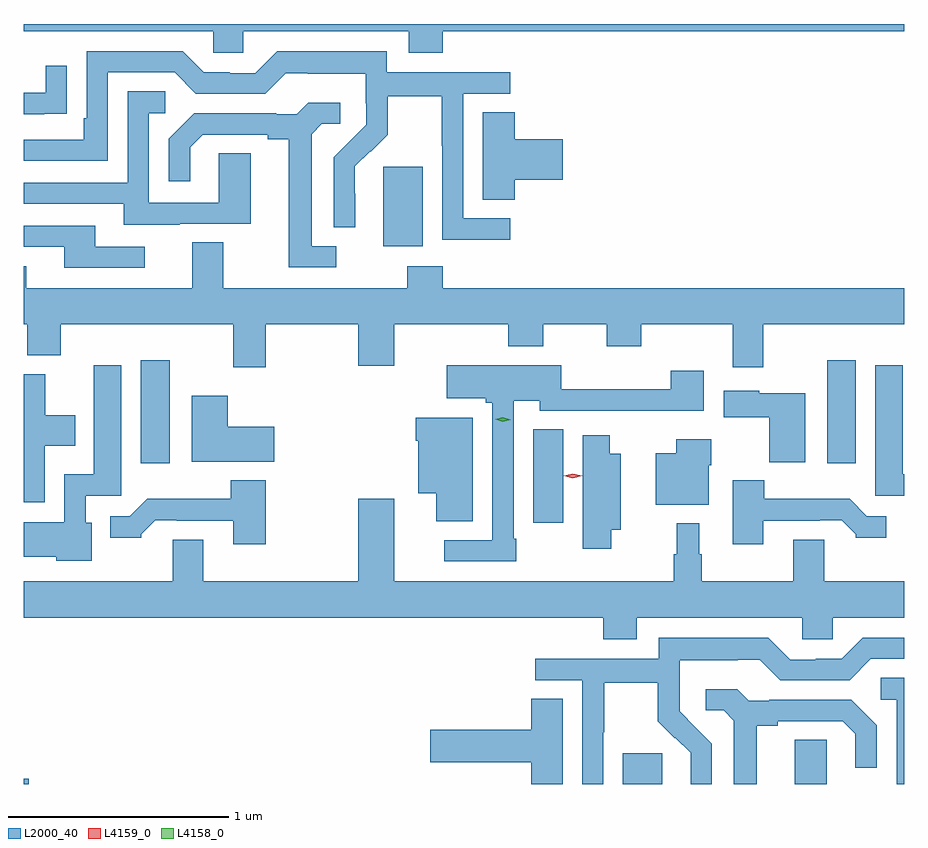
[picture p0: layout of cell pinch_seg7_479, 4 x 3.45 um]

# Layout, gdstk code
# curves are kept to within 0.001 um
import gdstk
lib = gdstk.Library(unit=1e-6, precision=1e-09)
def R(c, l, rs):  # rectangles x0, y0, x1, y1
    for r in rs: c.add(gdstk.rectangle(r[:2], r[2:], *l))
def P(c, l, *ps):  # polygons
    for p in ps: c.add(gdstk.Polygon(p, *l))
L2000_40 = (2000, 40)
L4158_0 = (4158, 0)
L4159_0 = (4159, 0)

pinch_seg7_479 = lib.new_cell('pinch_seg7_479')
R(pinch_seg7_479, L2000_40, [(211.441,1078.448,211.465,1078.472), (214.163,1078.448,214.342,1078.587), (214.943,1078.448,215.088,1078.649), (213.755,1079.634,213.892,1080.059), (211.973,1079.904,212.104,1080.373), (215.09,1079.904,215.221,1080.373), (213.074,1080.89,213.253,1081.251)])
P(pinch_seg7_479, L2000_40, [(213.344,1081.868),(215.441,1081.868),(215.441,1081.9),(211.441,1081.9),(211.441,1081.868),(212.301,1081.868),(212.301,1081.77),(212.439,1081.77),(212.439,1081.868),(213.191,1081.868),(213.191,1081.769),(213.344,1081.769)],
  [(213.652,1081.017),(213.438,1081.017),(213.438,1081.584),(213.652,1081.584),(213.652,1081.68),(213.09,1081.68),(213.09,1081.777),(212.593,1081.777),(212.493,1081.677),(212.378,1081.677),(212.378,1081.68),(212.259,1081.68),(212.163,1081.776),(211.728,1081.776),(211.728,1081.471),(211.715,1081.471),(211.715,1081.374),(211.441,1081.374),(211.441,1081.278),(211.824,1081.278),(211.824,1081.68),(212.127,1081.68),(212.223,1081.584),(212.538,1081.584),(212.631,1081.677),(212.731,1081.677),(212.731,1081.673),(212.994,1081.673),(212.994,1081.539),(212.996,1081.539),(212.996,1081.442),(212.85,1081.294),(212.85,1080.976),(212.946,1080.976),(212.945,1081.253),(213.015,1081.323),(213.018,1081.32),(213.095,1081.397),(213.095,1081.572),(213.34,1081.572),(213.34,1081.348),(213.342,1081.348),(213.342,1080.919),(213.652,1080.919)],
  [(211.535,1081.492),(211.637,1081.492),(211.637,1081.711),(211.541,1081.711),(211.541,1081.587),(211.441,1081.587),(211.441,1081.491),(211.535,1081.491)],
  [(212.149,1080.993),(212.473,1080.993),(212.473,1081.313),(212.328,1081.313),(212.328,1081.089),(212.01,1081.089),(212.01,1081.494),(212.083,1081.494),(212.083,1081.595),(211.914,1081.595),(211.914,1081.179),(211.441,1081.179),(211.441,1081.083),(211.895,1081.083),(211.895,1080.989),(212.149,1080.989)],
  [(212.86,1080.891),(212.749,1080.891),(212.749,1081.399),(212.796,1081.446),(212.878,1081.446),(212.878,1081.543),(212.734,1081.543),(212.682,1081.491),(212.588,1081.491),(212.588,1081.494),(212.216,1081.494),(212.1,1081.378),(212.1,1081.185),(212.197,1081.185),(212.197,1081.341),(212.254,1081.398),(212.549,1081.398),(212.549,1081.376),(212.645,1081.376),(212.645,1080.795),(212.86,1080.795)],
  [(213.671,1081.193),(213.889,1081.193),(213.889,1081.376),(213.671,1081.376),(213.671,1081.499),(213.527,1081.499),(213.527,1081.102),(213.671,1081.102)],
  [(211.99,1080.888),(211.765,1080.888),(211.765,1080.984),(211.441,1080.984),(211.441,1080.888),(211.625,1080.888),(211.625,1080.792),(211.99,1080.792)],
  [(213.641,1080.437),(213.801,1080.437),(213.801,1080.536),(214.09,1080.536),(214.09,1080.437),(214.245,1080.437),(214.245,1080.536),(214.661,1080.536),(214.661,1080.342),(214.801,1080.342),(214.801,1080.536),(215.441,1080.536),(215.441,1080.7),(213.344,1080.7),(213.344,1080.799),(213.184,1080.799),(213.184,1080.7),(212.347,1080.7),(212.347,1080.908),(212.207,1080.908),(212.207,1080.7),(211.453,1080.7),(211.453,1080.799),(211.441,1080.799),(211.441,1080.536),(211.457,1080.536),(211.457,1080.395),(211.61,1080.395),(211.61,1080.536),(212.393,1080.536),(212.393,1080.342),(212.541,1080.342),(212.541,1080.536),(212.96,1080.536),(212.96,1080.348),(213.124,1080.348),(213.124,1080.536),(213.641,1080.536)],
  [(213.679,1079.563),(213.666,1079.563),(213.666,1080.188),(213.786,1080.188),(213.786,1080.144),(214.295,1080.144),(214.295,1080.143),(214.531,1080.143),(214.531,1080.325),(214.379,1080.325),(214.379,1080.242),(213.882,1080.242),(213.882,1080.349),(213.363,1080.349),(213.363,1080.2),(213.54,1080.2),(213.54,1080.179),(213.57,1080.179),(213.57,1079.556),(213.351,1079.556),(213.351,1079.46),(213.679,1079.46)],
  [(215.441,1079.854),(215.434,1079.854),(215.434,1080.349),(215.309,1080.349),(215.309,1079.757),(215.441,1079.757)],
  [(211.75,1079.634),(211.722,1079.634),(211.722,1079.757),(211.885,1079.757),(211.885,1080.349),(211.76,1080.349),(211.76,1079.854),(211.626,1079.854),(211.626,1079.638),(211.441,1079.638),(211.441,1079.48),(211.59,1079.48),(211.59,1079.462),(211.75,1079.462)],
  [(211.536,1079.984),(211.675,1079.984),(211.675,1080.124),(211.539,1080.124),(211.539,1080.31),(211.441,1080.31),(211.441,1079.727),(211.536,1079.727)],
  [(214.99,1080.223),(214.782,1080.223),(214.782,1080.235),(214.62,1080.235),(214.62,1080.113),(214.828,1080.113),(214.828,1079.909),(214.99,1079.909)],
  [(212.578,1080.07),(212.368,1080.07),(212.368,1080.211),(212.204,1080.211),(212.204,1079.912),(212.578,1079.912)],
  [(213.481,1080.112),(213.221,1080.112),(213.221,1080.008),(213.233,1080.008),(213.233,1079.768),(213.314,1079.768),(213.314,1079.641),(213.481,1079.641)],
  [(214.11,1079.603),(214.153,1079.603),(214.153,1079.947),(214.102,1079.947),(214.102,1080.031),(213.98,1080.031),(213.98,1079.517),(214.11,1079.517)],
  [(214.552,1079.895),(214.564,1079.895),(214.564,1080.013),(214.406,1080.013),(214.406,1079.95),(214.313,1079.95),(214.313,1079.717),(214.552,1079.717)],
  [(214.801,1079.643),(215.057,1079.643),(215.057,1079.646),(215.156,1079.646),(215.22,1079.582),(215.22,1079.567),(215.359,1079.567),(215.359,1079.664),(215.271,1079.664),(215.193,1079.743),(214.804,1079.743),(214.804,1079.827),(214.661,1079.827),(214.661,1079.538),(214.801,1079.538)],
  [(212.541,1079.827),(212.381,1079.827),(212.381,1079.743),(212.002,1079.743),(211.923,1079.664),(211.835,1079.664),(211.835,1079.567),(211.974,1079.567),(211.974,1079.582),(212.038,1079.646),(212.137,1079.646),(212.137,1079.643),(212.393,1079.643),(212.393,1079.538),(212.541,1079.538)],
  [(214.408,1079.632),(214.408,1079.492),(214.393,1079.492),(214.393,1079.368),(213.124,1079.368),(213.124,1079.743),(212.96,1079.743),(212.96,1079.368),(212.257,1079.368),(212.257,1079.558),(212.117,1079.558),(212.117,1079.368),(211.441,1079.368),(211.441,1079.204),(214.073,1079.204),(214.073,1079.105),(214.225,1079.105),(214.225,1079.204),(214.977,1079.204),(214.977,1079.106),(215.115,1079.106),(215.115,1079.204),(215.441,1079.204),(215.441,1079.368),(215.077,1079.368),(215.077,1079.558),(214.937,1079.558),(214.937,1079.368),(214.522,1079.368),(214.522,1079.492),(214.51,1079.492),(214.51,1079.632)],
  [(214.074,1078.684),(214.077,1078.684),(214.077,1078.908),(214.321,1078.908),(214.321,1078.733),(214.398,1078.656),(214.401,1078.659),(214.472,1078.589),(214.472,1078.466),(214.47,1078.466),(214.47,1078.448),(214.566,1078.448),(214.566,1078.63),(214.42,1078.778),(214.42,1078.875),(214.422,1078.875),(214.422,1079.009),(214.685,1079.009),(214.685,1079.013),(214.785,1079.013),(214.878,1078.92),(215.193,1078.92),(215.289,1079.016),(215.441,1079.016),(215.441,1079.112),(215.253,1079.112),(215.157,1079.016),(215.039,1079.016),(215.039,1079.013),(214.923,1079.013),(214.823,1079.113),(214.326,1079.113),(214.326,1079.016),(213.765,1079.016),(213.765,1078.92),(213.978,1078.92),(213.978,1078.448),(214.074,1078.448)],
  [(215.441,1078.931),(215.334,1078.931),(215.334,1078.83),(215.406,1078.83),(215.406,1078.448),(215.441,1078.448)],
  [(214.771,1078.712),(214.867,1078.712),(214.867,1078.734),(215.162,1078.734),(215.219,1078.677),(215.219,1078.521),(215.316,1078.521),(215.316,1078.714),(215.2,1078.83),(214.828,1078.83),(214.828,1078.827),(214.734,1078.827),(214.682,1078.879),(214.539,1078.879),(214.539,1078.782),(214.62,1078.782),(214.667,1078.735),(214.667,1078.448),(214.771,1078.448)],
  [(213.889,1078.835),(213.746,1078.835),(213.746,1078.694),(213.288,1078.694),(213.288,1078.547),(213.746,1078.547),(213.746,1078.448),(213.889,1078.448)])
P(pinch_seg7_479, L4158_0, [(213.618,1080.093),(213.583,1080.104),(213.583,1080.104),(213.583,1080.104),(213.618,1080.113),(213.653,1080.103),(213.653,1080.103),(213.653,1080.103)])
P(pinch_seg7_479, L4159_0, [(213.936,1079.837),(213.894,1079.847),(213.894,1079.847),(213.894,1079.848),(213.936,1079.857),(213.977,1079.848),(213.977,1079.847),(213.977,1079.847)])

lib.write_gds('pinch_seg7_479.gds')
